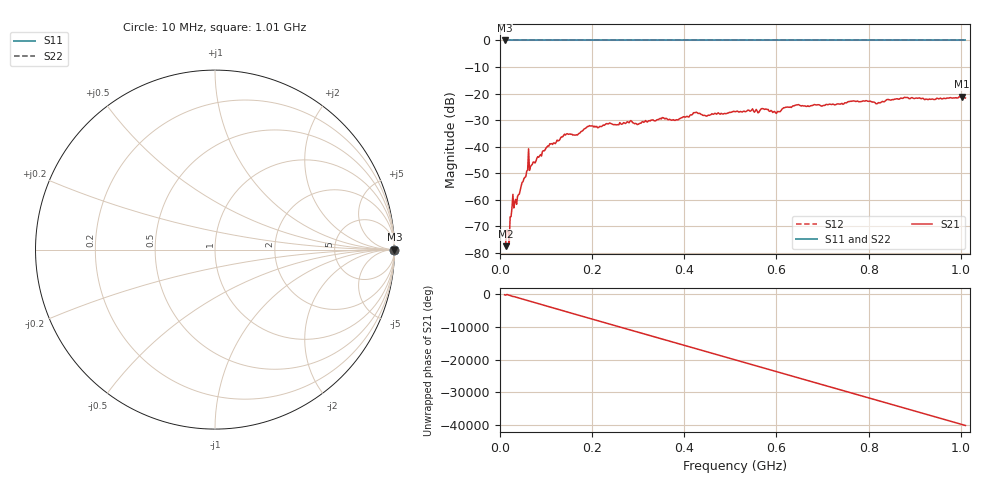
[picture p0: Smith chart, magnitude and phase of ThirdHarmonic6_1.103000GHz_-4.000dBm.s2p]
! 8/16/2025 10:23:47 AM
! C:\ANRITSUVNA\TEMP\TEMP.S2P
! CHANNEL.1
! TR.MEASUREMENT
! RAW.DATA
! RF.CORRECTION.OFF
! AVERAGING.OFF
! IF.BANDWIDTH: 5KHZ
! SWEEPTYPE:  FREQ.SWEEP(Linear)
! Reference Plane Port Info
! PORT:  PORT1  PORT2
! DISTANCE:  0  m  0  m
! TIME:  0  s  0  s
! PHASE.OFFSET:  0  deg.  0  deg.
! LOSS:  0  dB  0  dB
! REF.LOSS:  0  dB  0  dB
! REF.FREQ:  0  Hz  0  Hz
! Power Info
! POWER:  -20  dBm  -20  dBm
! EFF.POWER:  -20  dBm  -20  dBm
! SOURCE.ATTEN:  0  dB  0  dB
! TEST.ATTEN:  0  dB  0  dB
# GHZ S RI R 50.0
! FREQ.GHZ  S11RE  S11IM  S21RE  S21IM  S12RE  S12IM  S22RE  S22IM
!; PortSelection: Port_12
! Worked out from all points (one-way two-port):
!   501 points, 10 MHz to 1.01 GHz, reference 50 ohm
!   highest |S21| = -21.19 dB at 1.002 GHz (marker M1); lowest = -77.6 dB at 12 MHz (marker M2)
!   lowest |S11| = 0.0 dB at 10 MHz (marker M3)
!   |S11| at or under -10 dB: nowhere
!   |S22| runs from 0.0 to 0.0 dB; largest |S21 - S12| = 1.1
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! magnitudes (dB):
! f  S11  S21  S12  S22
! 10 MHz  0.0  -77.0  0.0  0.0
! 12 MHz  0.0  -77.6  0.0  0.0
! 16 MHz  0.0  -71.5  0.0  0.0
! 22 MHz  0.0  -66.5  0.0  0.0
! 26 MHz  0.0  -63.1  0.0  0.0
! 30 MHz  0.0  -63.1  0.0  0.0
! 40 MHz  0.0  -58.2  0.0  0.0
! 62 MHz  0.0  -40.8  0.0  0.0
! 136 MHz  0.0  -36.3  0.0  0.0
! 178 MHz  0.0  -34.2  0.0  0.0
! 194 MHz  0.0  -32.1  0.0  0.0
! 344 MHz  0.0  -29.8  0.0  0.0
! 382 MHz  0.0  -29.9  0.0  0.0
! 424 MHz  0.0  -27.2  0.0  0.0
! 510 MHz  0.0  -26.8  0.0  0.0
! 572 MHz  0.0  -25.8  0.0  0.0
! 602 MHz  0.0  -26.8  0.0  0.0
! 644 MHz  0.0  -24.3  0.0  0.0
! 678 MHz  0.0  -24.5  0.0  0.0
! 844 MHz  0.0  -22.3  0.0  0.0
! 1.002 GHz  0.0  -21.2  0.0  0.0
! 1.01 GHz  0.0  -21.7  0.0  0.0
